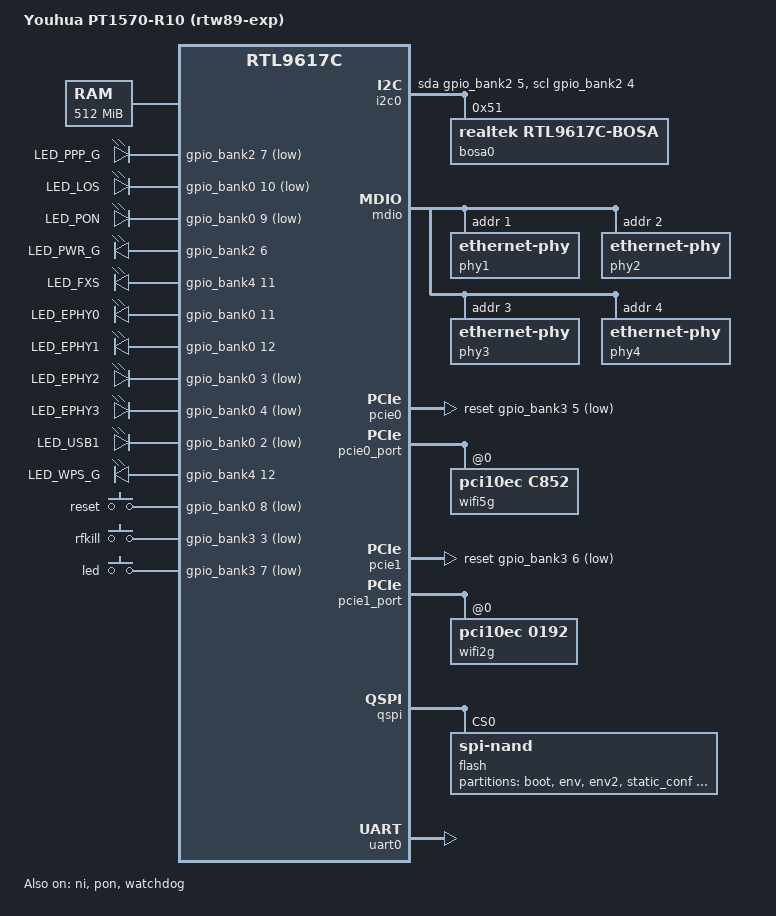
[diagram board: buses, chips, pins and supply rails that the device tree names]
// SPDX-License-Identifier: GPL-2.0-only
// EXPERIMENTAL rtw89 board for Youhua PT1570-R10 (updated 2026-11-25).
// Goal: validate mainline rtw89 + factory TYFC0003 calibration on R10.
// Baseline: lyq1996/rtl9617c-openwrt@refactor d39cfc6367e3 (rtw89 AP
// firmware rework). Kept: wifi-calibration nvmem cells @0x2000/@0x3000,
// factory UBI nvmem-layout -- R10 factory was verified on-device to carry
// TYFC0003 magic at both offsets.
// Changed vs 2026-11-22 DTS:
//   - thermal deviation 0xfffcd120 -> 0xffffd120 (upstream 43c48a4c16;
//     the old value caused a critical-trip shutdown right after boot)
//   - wifi nodes moved to &pcie0_port / &pcie1_port (upstream 2df200550b73)
//   - add realtek,ap-firmware + realtek,rfe-type (upstream 299da19e2ea6)
//   - ports renumbered 0..3, each LAN port gets a base_mac nvmem binding
//   - RESTORED 2026-11-26: &pcie0/&pcie1 reset-gpios (bank3 pin5/6) + IRQ affinity.
//     They were dropped during an earlier rewrite; without PERST# deassert the
//     cards never leave reset, PCIe stays link-down (POLL_COMPLIANCE), and both
//     radios are invisible (iw dev empty, no hostapd). Matches upstream tyfza1.
// NOTE: LAN label/MAC ordering follows the old R10 board labels; verify on device.

/dts-v1/;

#include "rtk-taurus.dtsi"
#include <dt-bindings/gpio/gpio.h>
#include <dt-bindings/input/linux-event-codes.h>
#include <dt-bindings/leds/common.h>

/ {
	model = "Youhua PT1570-R10 (rtw89-exp)";
	compatible = "youhua,pt1570-r10-rtw89-exp", "tianyi,tyfza1-2p5g", "realtek,rtl9617c";

	aliases {
		serial0 = &uart0;
		i2c0 = &i2c0;
		led-boot = &led_power;
		led-failsafe = &led_power;
		led-running = &led_power;
		led-upgrade = &led_power;
	};

	chosen {
		stdout-path = "serial0:115200n8";
		bootargs = "earlycon console=ttyS0,115200n8 loglevel=7 clk_ignore_unused";
		rootdisk = <&ubi_rootdisk>;
	};

	memory@0 {
		device_type = "memory";
		reg = <0 0 0 0x20000000>;
	};

	reserved-memory {
		#address-cells = <2>;
		#size-cells = <2>;
		ranges;

		lan_deepq: lan-deepq@c000000 {
			reg = <0 0x0c000000 0 0x01500000>;
		};
		tz-smc@eeff000 {
			reg = <0 0x0eeff000 0 0x1000>;
			no-map;
		};
		tz@ffc0000 {
			reg = <0 0x0ffc0000 0 0x40000>;
		};
	};

	leds {
		compatible = "gpio-leds";

		internet {
			label = "LED_PPP_G";
			gpios = <&gpio_bank2 7 GPIO_ACTIVE_LOW>;
			default-state = "off";
		};
		los {
			label = "LED_LOS";
			gpios = <&gpio_bank0 10 GPIO_ACTIVE_LOW>;
		};
		pon {
			label = "LED_PON";
			gpios = <&gpio_bank0 9 GPIO_ACTIVE_LOW>;
		};
		led_power: power {
			label = "LED_PWR_G";
			gpios = <&gpio_bank2 6 GPIO_ACTIVE_HIGH>;
			default-state = "on";
		};
		phone {
			label = "LED_FXS";
			gpios = <&gpio_bank4 11 GPIO_ACTIVE_HIGH>;
		};
		lan1 {
			label = "LED_EPHY0";
			gpios = <&gpio_bank0 11 GPIO_ACTIVE_HIGH>;
		};
		lan2 {
			label = "LED_EPHY1";
			gpios = <&gpio_bank0 12 GPIO_ACTIVE_HIGH>;
		};
		lan3 {
			label = "LED_EPHY2";
			gpios = <&gpio_bank0 3 GPIO_ACTIVE_LOW>;
		};
		lan4 {
			label = "LED_EPHY3";
			gpios = <&gpio_bank0 4 GPIO_ACTIVE_LOW>;
		};
		usb {
			label = "LED_USB1";
			gpios = <&gpio_bank0 2 GPIO_ACTIVE_LOW>;
		};
		wps {
			label = "LED_WPS_G";
			gpios = <&gpio_bank4 12 GPIO_ACTIVE_HIGH>;
		};
	};

	gpio-keys {
		compatible = "gpio-keys";

		reset {
			label = "reset";
			linux,code = <KEY_RESTART>;
			gpios = <&gpio_bank0 8 GPIO_ACTIVE_LOW>;
			debounce-interval = <60>;
		};
		wifi {
			label = "rfkill";
			linux,code = <KEY_RFKILL>;
			gpios = <&gpio_bank3 3 GPIO_ACTIVE_LOW>;
			debounce-interval = <60>;
		};
		led {
			label = "led";
			linux,code = <KEY_LIGHTS_TOGGLE>;
			gpios = <&gpio_bank3 7 GPIO_ACTIVE_LOW>;
			debounce-interval = <60>;
		};
	};
};

&gpio0 {
	status = "okay";
};

&i2c0 {
	status = "okay";
	scl-gpios = <&gpio_bank2 4 GPIO_ACTIVE_HIGH>;
	sda-gpios = <&gpio_bank2 5 GPIO_ACTIVE_HIGH>;

	bosa0: optical-front-end@51 {
		compatible = "realtek,rtl9617c-bosa";
		reg = <0x51>;
		nvmem-cells = <&bosa_calibration>;
		nvmem-cell-names = "calibration";
	};
};

&mdio {
	status = "okay";

	phy1: ethernet-phy@1 {
		reg = <1>;
	};
	phy2: ethernet-phy@2 {
		reg = <2>;
	};
	phy3: ethernet-phy@3 {
		reg = <3>;
	};
	phy4: ethernet-phy@4 {
		reg = <4>;
	};
};

&ni {
	memory-region = <&lan_deepq>;
	nvmem-cells = <&base_mac 0>;
	nvmem-cell-names = "mac-address";
	status = "okay";

	ethernet-ports {
		/* U-Boot authoritative map: p0->PHY1, p1->PHY2, p2->PHY3, p3->PHY4 */
		port@0 {
			reg = <0>;
			label = "lan1";
			nvmem-cells = <&base_mac 1>;
			nvmem-cell-names = "mac-address";
			phy-mode = "internal";
			phy-handle = <&phy1>;
		};
		port@1 {
			reg = <1>;
			label = "lan2";
			nvmem-cells = <&base_mac 2>;
			nvmem-cell-names = "mac-address";
			phy-mode = "internal";
			phy-handle = <&phy2>;
		};
		port@2 {
			reg = <2>;
			label = "lan3";
			nvmem-cells = <&base_mac 3>;
			nvmem-cell-names = "mac-address";
			phy-mode = "internal";
			phy-handle = <&phy3>;
		};
		port@3 {
			reg = <3>;
			label = "lan4";
			nvmem-cells = <&base_mac 4>;
			nvmem-cell-names = "mac-address";
			phy-mode = "internal";
			phy-handle = <&phy4>;
		};
	};
};

&pcie0 {
	/* CRITICAL: WiFi 5G card PERST# — without this the card stays in reset,
	 * PCIe link stays in LTSSM POLL_COMPLIANCE and no [10ec:c852] is enumerated
	 * (iw dev empty). Upstream tyfza1 DTS + H10-CU both use bank3 pin5/6. */
	reset-gpios = <&gpio_bank3 5 GPIO_ACTIVE_LOW>;
	irq-affinity = <1>;
	status = "okay";
};

&pcie0_port {
	wifi5g: wifi@0,0 {
		compatible = "pci10ec,c852";
		reg = <0x0000 0 0 0 0>;
		realtek,ap-firmware;
		/* R10 front-end was previously observed as RFE54; confirm by radio log */
		realtek,rfe-type = <54>;
		ieee80211-freq-limit = <5150000 5900000>;
		nvmem-cells = <&wifi_cal_radio0>;
		nvmem-cell-names = "wifi-calibration";
	};
};

&pcie1 {
	/* CRITICAL: WiFi 2.4G card PERST# — see pcie0 comment. bank3 pin6. */
	reset-gpios = <&gpio_bank3 6 GPIO_ACTIVE_LOW>;
	irq-affinity = <2>;
	status = "okay";
};

&pcie1_port {
	wifi2g: wifi@0,0 {
		compatible = "pci10ec,0192";
		reg = <0x0000 0 0 0 0>;
		realtek,rfe-type = <54>;
		nvmem-cells = <&wifi_cal_radio1>;
		nvmem-cell-names = "wifi-calibration";
	};
};

&pon {
	status = "okay";
	nvmem-cells = <&epon_mac 0>, <&base_mac 0>, <&pon_sn>;
	nvmem-cell-names = "mac-address", "base-mac", "pon-serial";
	realtek,optical-front-end = <&bosa0>;
	tx-disable-gpios = <&gpio_bank0 15 GPIO_ACTIVE_HIGH>;
	realtek,burst-polarity = <0>;
	realtek,los-invert = <0>;
	realtek,uni-ports = /bits/ 8 <3 2 1 0>;
};

&qspi {
	status = "okay";

	flash@0 {
		compatible = "spi-nand";
		reg = <0>;
		spi-tx-bus-width = <1>;
		spi-rx-bus-width = <4>;

		partitions {
			compatible = "fixed-partitions";
			#address-cells = <1>;
			#size-cells = <1>;

			partition@0 {
				label = "boot";
				reg = <0x0 0x200000>;
				read-only;
			};
			partition@280000 {
				label = "env";
				reg = <0x280000 0x40000>;
			};
			partition@2c0000 {
				label = "env2";
				reg = <0x2c0000 0x40000>;
			};
			partition@300000 {
				label = "static_conf";
				reg = <0x300000 0x40000>;
			};

			ubi_partition: partition@340000 {
				label = "ubi_device";
				reg = <0x340000 0xf5c0000>;
				compatible = "linux,ubi";

				volumes {
					ubi_rootdisk: ubi-volume-fit {
						volname = "fit";
					};

					ubi_factory: ubi-volume-factory {
						volname = "factory";

						nvmem-layout {
							compatible = "fixed-layout";
							#address-cells = <1>;
							#size-cells = <1>;

							base_mac: mac-address@1000 {
								compatible = "mac-base";
								reg = <0x1000 0x6>;
								#nvmem-cell-cells = <1>;
							};

							mac_count: mac-count@1006 {
								reg = <0x1006 0x4>;
							};

							epon_mac: mac-address@1010 {
								compatible = "mac-base";
								reg = <0x1010 0x6>;
								#nvmem-cell-cells = <1>;
							};

							pon_sn: pon-serial@1020 {
								reg = <0x1020 0x10>;
							};

							device_sn: device-serial@1030 {
								reg = <0x1030 0x20>;
							};

							wifi_cal_radio0: wifi-calibration@2000 {
								reg = <0x2000 0x1000>;
							};

							wifi_cal_radio1: wifi-calibration@3000 {
								reg = <0x3000 0x1000>;
							};

							bosa_calibration: bosa-calibration@4000 {
								reg = <0x4000 0x400>;
							};

							bosa_olt_calibration: olt-calibration@4800 {
								reg = <0x4800 0x400>;
							};

							fpga_image: fpga-image@10000 {
								reg = <0x10000 0x7e0000>;
							};
						};
					};
				};
			};
		};
	};
};

/* SoC TMS sensor reads 12C low per factory xtemp calibration; report raw + 12C.
 * 0xfffcd120 = -208.6C -> critical trip right after boot (upstream 43c48a4c16).
 * 0xffffd120 = -12.0C  -> correct. NEVER revert this. */
&cpu_thermal {
	deviation = <0xffffd120>;
};

&serdes {
	status = "disabled";
};

&uart0 {
	status = "okay";
};

&watchdog {
	reset-on-timeout;
	delay-reset = <134>;
	status = "okay";
};
